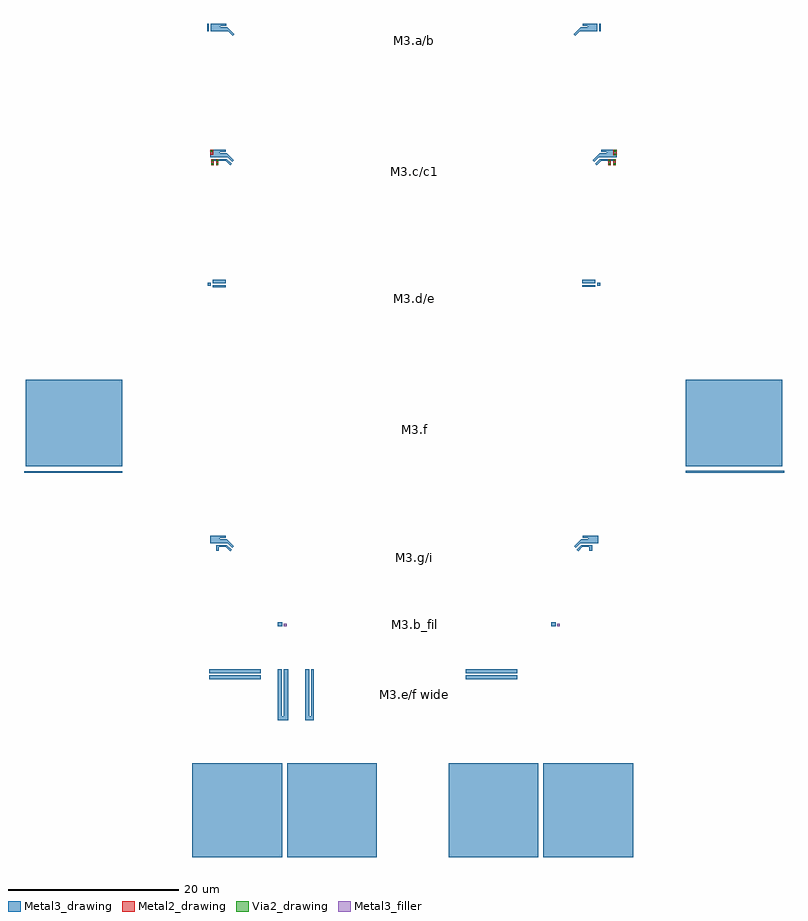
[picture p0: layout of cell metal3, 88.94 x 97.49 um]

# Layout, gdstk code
import gdstk
lib = gdstk.Library(unit=1e-6, precision=1e-09)
def R(c, l, rs):  # rectangles x0, y0, x1, y1
    for r in rs: c.add(gdstk.rectangle(r[:2], r[2:], *l))
def P(c, l, *ps):  # polygons
    for p in ps: c.add(gdstk.Polygon(p, *l))
Metal2_drawing = (10, 0)
Via2_drawing = (29, 0)
Metal3_drawing = (30, 0)
Metal3_filler = (30, 22)

metal3 = lib.new_cell('metal3')
R(metal3, Metal2_drawing, [(-23.775,-21.565,-23.505,-20.865), (-23.21,-21.565,-22.94,-20.865), (22.67,-21.56,22.94,-20.865), (23.265,-21.56,23.535,-20.865), (23.285,-20.405,23.64,-19.78), (-23.91,-20.34,-23.555,-19.785)])
R(metal3, Via2_drawing, [(-23.77,-21.515,-23.58,-21.325), (-23.17,-21.515,-22.98,-21.325), (22.71,-21.515,22.9,-21.325), (23.34,-21.515,23.53,-21.325), (-23.735,-21.105,-23.545,-20.915), (-23.17,-21.105,-22.98,-20.915), (22.71,-21.105,22.9,-20.915), (23.305,-21.06,23.495,-20.87), (23.4,-20.395,23.59,-20.205), (-23.86,-19.985,-23.67,-19.795), (23.4,-19.975,23.59,-19.785)])
R(metal3, Metal3_drawing, [(-26,-102.535,-15.5,-91.535), (-14.9,-102.535,-4.4,-91.535), (4,-102.535,14.5,-91.535), (15.09,-102.535,25.59,-91.535), (-24,-81.755,-18,-81.265), (6,-81.745,12,-81.255), (-24,-81.025,-18,-80.535), (6,-81.025,12,-80.535), (-16,-75.535,-15.5,-75.035), (16,-75.535,16.5,-75.035), (-45.7,-57.58,-34.205,-57.38), (31.745,-57.55,43.24,-57.35), (-45.515,-56.78,-34.205,-46.68), (31.745,-56.78,43.055,-46.68), (-23.61,-35.835,-22.11,-35.635), (19.65,-35.82,21.15,-35.62), (-24.2,-35.705,-23.82,-35.325), (21.36,-35.705,21.725,-35.34), (-23.61,-35.395,-22.11,-35.005), (19.65,-35.395,21.15,-34.985), (-24.27,-5.885,-24.07,-5.045), (21.595,-5.885,21.785,-5.045)])
P(metal3, Metal3_drawing, [(-16,-86.535),(-16,-80.535),(-15.51,-80.535),(-15.51,-86.045),(-15.28,-86.045),(-15.28,-80.535),(-14.79,-80.535),(-14.79,-86.535)],
  [(-12.79,-86.535),(-12.79,-80.535),(-12.3,-80.535),(-12.3,-86.045),(-12.07,-86.045),(-12.07,-80.535),(-11.82,-80.535),(-11.82,-86.535)],
  [(-21.58,-21.585),(-22.1,-21.065),(-22.94,-21.065),(-22.94,-21.565),(-23.21,-21.565),(-23.21,-20.865),(-21.96,-20.865),(-21.41,-21.415)],
  [(-21.58,-66.75),(-22.1,-66.23),(-22.92,-66.23),(-22.92,-66.72),(-23.22,-66.72),(-23.22,-66.03),(-21.96,-66.03),(-21.41,-66.58)],
  [(-21.32,-21.165),(-21.86,-20.625),(-23.91,-20.625),(-23.91,-19.785),(-22.1,-19.785),(-22.1,-19.985),(-22.77,-19.985),(-22.77,-20.195),(-21.95,-20.195),(-21.15,-20.995)],
  [(-21.32,-66.33),(-21.86,-65.79),(-23.91,-65.79),(-23.91,-64.95),(-22.1,-64.95),(-22.1,-65.15),(-22.77,-65.15),(-22.77,-65.36),(-21.95,-65.36),(-21.15,-66.16)],
  [(-21.27,-6.425),(-21.81,-5.885),(-23.86,-5.885),(-23.86,-5.045),(-22.05,-5.045),(-22.05,-5.245),(-22.72,-5.245),(-22.72,-5.455),(-21.9,-5.455),(-21.1,-6.255)],
  [(18.805,-6.425),(18.635,-6.255),(19.455,-5.435),(20.255,-5.435),(20.255,-5.235),(19.715,-5.235),(19.715,-5.045),(21.395,-5.045),(21.395,-5.885),(19.345,-5.885)],
  [(19.135,-66.75),(18.965,-66.58),(19.515,-66.03),(20.775,-66.03),(20.775,-66.72),(20.475,-66.72),(20.475,-66.23),(19.655,-66.23)],
  [(18.885,-66.33),(18.72,-66.165),(19.525,-65.36),(20.335,-65.36),(20.335,-65.15),(19.665,-65.15),(19.665,-64.95),(21.475,-64.95),(21.475,-65.79),(19.425,-65.79)],
  [(21.05,-21.165),(20.88,-20.995),(21.68,-20.195),(22.5,-20.195),(22.5,-19.985),(21.83,-19.985),(21.83,-19.785),(23.64,-19.785),(23.64,-20.625),(21.59,-20.625)],
  [(21.31,-21.585),(21.14,-21.415),(21.69,-20.865),(22.94,-20.865),(22.94,-21.56),(22.67,-21.56),(22.67,-21.065),(21.83,-21.065)],
  [(23.265,-21.56),(23.265,-21.065),(22.665,-21.065),(22.665,-20.865),(23.535,-20.865),(23.535,-21.56)],
  [(-23.775,-21.565),(-23.775,-20.865),(-22.785,-20.865),(-22.785,-21.065),(-23.505,-21.065),(-23.505,-21.565)])
R(metal3, Metal3_filler, [(-15.28,-75.535,-14.98,-75.235), (16.69,-75.535,16.99,-75.235)])
metal3.add(gdstk.Label('M3.e/f wide', (0,-83.535), layer=63, texttype=0))
metal3.add(gdstk.Label('M3.a/b', (0,-7.005), layer=63, texttype=0))
metal3.add(gdstk.Label('M3.c/c1', (0,-22.28), layer=63, texttype=0))
metal3.add(gdstk.Label('M3.d/e', (0,-37.21), layer=63, texttype=0))
metal3.add(gdstk.Label('M3.f', (0,-52.53), layer=63, texttype=0))
metal3.add(gdstk.Label('M3.g/i', (0,-67.535), layer=63, texttype=0))
metal3.add(gdstk.Label('PASS', (-12,5), layer=63, texttype=0))
metal3.add(gdstk.Label('FAIL', (12,5), layer=63, texttype=0))
metal3.add(gdstk.Label('5.17 Metaln', (0,21), layer=63, texttype=0))
metal3.add(gdstk.Label('M3.b_fil', (0,-75.285), layer=63, texttype=0))

lib.write_gds('metal3.gds')
